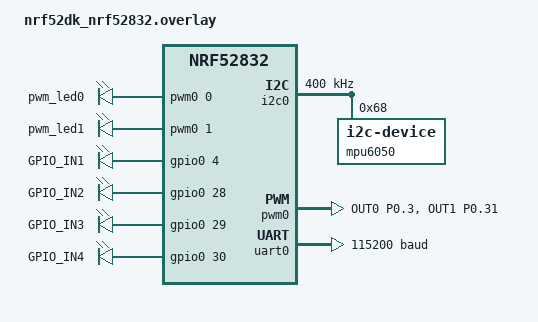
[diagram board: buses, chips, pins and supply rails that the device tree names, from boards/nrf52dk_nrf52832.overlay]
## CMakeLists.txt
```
cmake_minimum_required(VERSION 3.20.0)
find_package(Zephyr REQUIRED HINTS $ENV{ZEPHYR_BASE})

project(sbr-software)

target_sources(app PRIVATE src/main.c)
target_sources(app PRIVATE src/mpu6050.c)
target_sources(app PRIVATE src/motors.c)
target_sources(app PRIVATE src/usb_module.c)
target_sources(app PRIVATE src/buttons.c)
```

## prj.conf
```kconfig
CONFIG_I2C=y

# USB CDC ACM (Communications Device Class - Abstract Control Model)
CONFIG_USB_DEVICE_STACK=y
CONFIG_USB_DEVICE_PRODUCT="SBR with NiceNano v.2"

CONFIG_SERIAL=y
CONFIG_CONSOLE=y
CONFIG_UART_CONSOLE=y
CONFIG_UART_LINE_CTRL=y

CONFIG_CBPRINTF_FP_SUPPORT=y

# GPIO and PWM
CONFIG_GPIO=y
CONFIG_PWM=y
CONFIG_LED=y
# CONFIG_LED_PWM=y

# CONFIG_BT=y
# CONFIG_BT_PERIPHERAL=y
## CONFIG_BT_DEVICE_NAME="SB RB"
# CONFIG_BT_LL_SOFTDEVICE=y

# CONFIG_MAIN_STACK_SIZE=512
# CONFIG_IDLE_STACK_SIZE=128

# CONFIG_BT_L2CAP_TX_BUF_COUNT=2
# CONFIG_BT_BUF_EVT_RX_COUNT=2

# CONFIG_BT_BUF_ACL_RX_SIZE=32
# CONFIG_BT_BUF_ACL_TX_SIZE=32
# CONFIG_BT_BUF_ACL_RX_COUNT=1
#CONFIG_BT_BUF_ACL_TX_COUNT=1
```

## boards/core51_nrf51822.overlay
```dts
// To get started, press Ctrl+Space to bring up the completion menu and view the available nodes.

// You can also use the buttons in the sidebar to perform actions on nodes.
// Actions currently available include:

// * Enabling / disabling the node
// * Adding the bus to a bus
// * Removing the node
// * Connecting ADC channels

// For more help, browse the DeviceTree documentation at https://docs.zephyrproject.org/latest/guides/dts/index.html
// You can also visit the nRF DeviceTree extension documentation at https://docs.nordicsemi.com/bundle/nrf-connect-vscode/page/guides/ncs_configure_app.html#devicetree-support-in-the-extension
/{
    aliases {
        bt1 = &button0;
        bt2 = &button1;
    };

    buttons {
		compatible = "gpio-keys";
		button0: button_0 {
			gpios = <&gpio0 17 (GPIO_PULL_UP | GPIO_ACTIVE_LOW)>;
			label = "Push button switch 0";
			zephyr,code = <INPUT_KEY_0>;
		};
		button1: button_1 {
			gpios = <&gpio0 18 (GPIO_PULL_UP | GPIO_ACTIVE_LOW)>;
			label = "Push button switch 1";
			zephyr,code = <INPUT_KEY_1>;
		};
    };
};
```

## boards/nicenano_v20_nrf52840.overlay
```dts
/{
	chosen {
		zephyr,console = &cdc_acm_uart0;
	};

	leds {
		mpu6500_ad0: mpu6500ad0 {
			label = "MPU6500_ADDRESS";
			gpios = <&gpio0 24 0>;
		};
		driver_s12: drivers12 {
			label = "M_DRIVER_12_SLEEP";
			gpios = <&gpio0 6 0>;
		};
	};

	motors: motors {
        compatible = "pwm-motors";
        pwms = <&pwm0 0 PWM_KHZ(20) PWM_POLARITY_NORMAL>,
			   <&pwm0 1 PWM_KHZ(20) PWM_POLARITY_NORMAL>,
			   <&pwm0 2 PWM_KHZ(20) PWM_POLARITY_NORMAL>,
			   <&pwm0 3 PWM_KHZ(20) PWM_POLARITY_NORMAL>;
    };

	buttons {
		compatible = "gpio-keys";
		button1: button_1 {
			gpios = <&gpio0 31 (GPIO_ACTIVE_LOW | GPIO_PULL_UP)>;
			label = "Push button switch 1";
		};
		};

    aliases {
		mpu6500-address = &mpu6500_ad0;
        drv-slp-12 = &driver_s12;
		bt1 = &button1;
    };
};

&pinctrl {
    i2c0_default: i2c0_default {
		group1 {
			psels = <NRF_PSEL(TWIM_SDA, 1, 0)>, <NRF_PSEL(TWIM_SCL, 0, 11)>;
		};
	};

	i2c0_sleep: i2c0_sleep {
		group1 {
			psels = <NRF_PSEL(TWIM_SDA, 1, 0)>, <NRF_PSEL(TWIM_SCL, 0, 11)>;
			low-power-enable;
		};
	};

	pwm0_default: pwm0_default {
		group1 {
			psels = <NRF_PSEL(PWM_OUT0, 0, 8)>,
					<NRF_PSEL(PWM_OUT1, 0, 17)>,
					<NRF_PSEL(PWM_OUT2, 0, 20)>,
					<NRF_PSEL(PWM_OUT3, 0, 22)>;
		};
	};
};

&pwm0 {
    compatible = "nordic,nrf-pwm";
    status = "okay";
	pinctrl-0 = <&pwm0_default>;
	pinctrl-names = "default";
};

&i2c0 {
    pinctrl-0 = <&i2c0_default>;
	pinctrl-names = "default";
    status = "okay";
	mpu6500: mpu6500@68{
        compatible = "i2c-device";
        reg = < 0x68 >;
        label = "mpu6500";
    };
};

&zephyr_udc0 {
	cdc_acm_uart0: cdc_acm_uart0 {
		compatible = "zephyr,cdc-acm-uart";
	};
};
```

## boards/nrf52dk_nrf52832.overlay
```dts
// To get started, press Ctrl+Space to bring up the completion menu and view the available nodes.

// You can also use the buttons in the sidebar to perform actions on nodes.
// Actions currently available include:

// * Enabling / disabling the node
// * Adding the bus to a bus
// * Removing the node
// * Connecting ADC channels

// For more help, browse the DeviceTree documentation at https://docs.zephyrproject.org/latest/guides/dts/index.html
// You can also visit the nRF DeviceTree extension documentation at https://docs.nordicsemi.com/bundle/nrf-connect-vscode/page/guides/ncs_configure_app.html#devicetree-support-in-the-extension
&i2c0 {  
    mpu6050: mpu6050@68{
        compatible = "i2c-device";
        status = "okay";
        reg = < 0x68 >;
    };

    clock-frequency = <I2C_BITRATE_FAST>;
};

/{
    aliases {
        gpio-in1 = &gpioin1;
        gpio-in2 = &gpioin2;
        gpio-in3 = &gpioin3;
        gpio-in4 = &gpioin4;
        bt1 = &button0;
        bt2 = &button1;
        bt3 = &button2;
        bt4 = &button3;
        pwm-servo0 = &pwm_led0;
        pwm-servo1 = &pwm_led1;
    };
    pwmleds {
        compatible = "pwm-leds";
        pwm_led0: pwm_led_0 {
            pwms = <&pwm0 0 PWM_USEC(25) PWM_POLARITY_NORMAL>;
        };
        pwm_led1: pwm_led_1 {
            pwms = <&pwm0 1 PWM_USEC(25) PWM_POLARITY_NORMAL>;
        };
    };

    leds {
        gpioin1: gpio_in1 {
            gpios = <&gpio0 4 0>;
            label = "GPIO_IN1";
        };

        gpioin2: gpio_in2 {
            gpios = <&gpio0 28 0>;
            label = "GPIO_IN2";
        };

        gpioin3: gpio_in3 {
            gpios = <&gpio0 29 0>;
            label = "GPIO_IN3";
        };

        gpioin4: gpio_in4 {
            gpios = <&gpio0 30 0>;
            label = "GPIO_IN4";
        };
    };
};

&pwm0 {
    status = "okay";
    pinctrl-0 = <&pwm0_custom>;
    pinctrl-1 = <&pwm0_csleep>;
    pinctrl-names = "default", "sleep";
};

&pinctrl {
    pwm0_custom: pwm0_custom {
        group1 {
            psels = <NRF_PSEL(PWM_OUT0, 0, 3)>;
            nordic,invert;
        };

        group2 {
            psels = <NRF_PSEL(PWM_OUT1, 0, 31)>;
        };
    };

    pwm0_csleep: pwm0_csleep {
        group1 {
            psels = <NRF_PSEL(PWM_OUT0, 0, 3)>;
            low-power-enable;
        };
        group2 {
            psels = <NRF_PSEL(PWM_OUT1, 0, 31)>;
            low-power-enable;
        };
    };
};
&uart0 {
    current-speed = <115200>;
};

&spi0 {
    status="disabled";
};
&spi1 {
    status="disabled";
};
&spi2 {
    status="disabled";
};
```

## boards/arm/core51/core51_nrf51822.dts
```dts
/*
 * Copyright (c) 2017 Linaro Limited
 *
 * SPDX-License-Identifier: Apache-2.0
 */

/dts-v1/;
#include <nordic/nrf51822_qfaa.dtsi>
//#include "core51_nrf51822-pinctrl.dtsi"
#include <zephyr/dt-bindings/input/input-event-codes.h>

/ {
	model = "Core 51822";
	compatible = "nordic,nrf51822";

	chosen {
		zephyr,sram = &sram0;
		zephyr,flash = &flash0;
		zephyr,code-partition = &slot0_partition;
		zephyr,console = &uart0;
		zephyr,shell-uart = &uart0;
		zephyr,bt-mon-uart = &uart0;
		zephyr,bt-c2h-uart = &uart0;
	};

	leds {
		compatible = "gpio-leds";
		led0: led_0 {
			label = "LED 1";
			gpios = <&gpio0 21 0>;
		};
	};

	/* These aliases are provided for compatibility with samples */
	aliases {
		led0 = &led0;
	};
};

&gpiote {
	status = "okay";
};

&gpio0 {
	status = "okay";
};

&flash0 {
	partitions {
		compatible = "fixed-partitions";
		#address-cells = <1>;
		#size-cells = <1>;

		boot_partition: partition@0 {
			label = "mcuboot";
			reg = <0x00000000 0x8000>;
		};
		slot0_partition: partition@8000 {
			label = "image-0";
			reg = <0x00008000 0x1a000>;
		};
		slot1_partition: partition@22000 {
			label = "image-1";
			reg = <0x00022000 0x1a000>;
		};
		scratch_partition: partition@3c000 {
			label = "image-scratch";
			reg = <0x0003c000 0x2000>;
		};
		storage_partition: partition@3e000 {
			label = "storage";
			reg = <0x0003e000 0x00002000>;
		};
	};
};
```

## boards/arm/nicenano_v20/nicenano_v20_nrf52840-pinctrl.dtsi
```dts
// Copyright (c) 2025 MLesniak https://github.com/LesniakM

&pinctrl {
	uart0_default: uart0_default {
		group1 {
			psels = <NRF_PSEL(UART_TX, 0, 9)>,
				<NRF_PSEL(UART_RX, 0, 11)>,
				<NRF_PSEL(UART_RTS, 0, 8)>,
				<NRF_PSEL(UART_CTS, 0, 10)>;
		};
	};

	uart0_sleep: uart0_sleep {
		group1 {
			psels = <NRF_PSEL(UART_TX, 0, 9)>,
				<NRF_PSEL(UART_RX, 0, 11)>,
				<NRF_PSEL(UART_RTS, 0, 8)>,
				<NRF_PSEL(UART_CTS, 0, 10)>;
			low-power-enable;
		};
	};

	i2c0_default: i2c0_default {
		group1 {
			psels = <NRF_PSEL(TWIM_SDA, 0, 30)>,
				<NRF_PSEL(TWIM_SCL, 0, 7)>;
		};
	};

	i2c0_sleep: i2c0_sleep {
		group1 {
			psels = <NRF_PSEL(TWIM_SDA, 0, 30)>,
				<NRF_PSEL(TWIM_SCL, 0, 7)>;
			low-power-enable;
		};
	};

	i2c1_default: i2c1_default {
		group1 {
			psels = <NRF_PSEL(TWIM_SDA, 0, 5)>,
				<NRF_PSEL(TWIM_SCL, 0, 6)>;
		};
	};

	i2c1_sleep: i2c1_sleep {
		group1 {
			psels = <NRF_PSEL(TWIM_SDA, 0, 5)>,
				<NRF_PSEL(TWIM_SCL, 0, 6)>;
			low-power-enable;
		};
	};

	spi0_default: spi0_default {
		group1 {
			psels = <NRF_PSEL(SPIM_SCK, 0, 7)>,
				<NRF_PSEL(SPIM_MOSI, 0, 29)>,
				<NRF_PSEL(SPIM_MISO, 0, 30)>;
		};
	};

	spi0_sleep: spi0_sleep {
		group1 {
			psels = <NRF_PSEL(SPIM_SCK, 0, 7)>,
				<NRF_PSEL(SPIM_MOSI, 0, 29)>,
				<NRF_PSEL(SPIM_MISO, 0, 30)>;
			low-power-enable;
		};
	};

	spi1_default: spi1_default {
		group1 {
			psels = <NRF_PSEL(SPIM_SCK, 0, 6)>,
				<NRF_PSEL(SPIM_MOSI, 0, 5)>,
				<NRF_PSEL(SPIM_MISO, 0, 4)>;
		};
	};

	spi1_sleep: spi1_sleep {
		group1 {
			psels = <NRF_PSEL(SPIM_SCK, 0, 6)>,
				<NRF_PSEL(SPIM_MOSI, 0, 5)>,
				<NRF_PSEL(SPIM_MISO, 0, 4)>;
			low-power-enable;
		};
	};

};
```

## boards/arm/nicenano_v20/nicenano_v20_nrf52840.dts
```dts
// Copyright (c) 2025 MLesniak https://github.com/LesniakM

/dts-v1/;
#include <nordic/nrf52840_qiaa.dtsi>
#include "nicenano_v20_nrf52840-pinctrl.dtsi"
#include <zephyr/dt-bindings/input/input-event-codes.h>

/ {
	model = "NiceNano V2.0 nRF52840";
	compatible = "nordic,nicenano-v20-nrf52840";

	chosen {
		zephyr,sram = &sram0;
		zephyr,flash = &flash0;
	};

	leds {
		compatible = "gpio-leds";
		led0: led_0 {
			label = "LED 0";
			gpios = <&gpio0 15 0>;
		};
	};

	/* These aliases are provided for compatibility with samples */
	aliases {
		led0 = &led0;
	};
};

&gpiote {
	status = "okay";
};

&gpio0 {
	status = "okay";
};

&gpio1 {
	status = "okay";
};

zephyr_udc0: &usbd {
	compatible = "nordic,nrf-usbd";
	status = "okay";
};
```

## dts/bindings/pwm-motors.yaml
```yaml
description: PWM bindings for H-bridge drivers.

compatible: "pwm-motors"

include: base.yaml

properties:
  pwms:
    required: true
    type: phandle-array
    description: PWM specifier driving the servo motor.
```

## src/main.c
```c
#include <zephyr/kernel.h>
#include <zephyr/device.h>

#include <zephyr/drivers/gpio.h>
#include <zephyr/drivers/i2c.h>
#include <zephyr/drivers/pwm.h>

#include "motors.h"
#include "mpu6050.h"
#include "buttons.h"

// USB
#include "usb_module.h"

// #include "ble_comm.h"
// #include <zephyr/sys/printk.h>

#define LED0_NODE DT_ALIAS(led0) // LED0_NODE = led0 defined in the .dts file
const struct gpio_dt_spec led = GPIO_DT_SPEC_GET(LED0_NODE, gpios);

#define MPU6500_ADDRESS_NODE DT_ALIAS(mpu6500_address)
const struct gpio_dt_spec mpu6500_address_pin = GPIO_DT_SPEC_GET(MPU6500_ADDRESS_NODE, gpios);

int time = 0;

bool drive = false;

#define I2C0_MPU_NODE DT_NODELABEL(mpu6500)
static const struct i2c_dt_spec dev_i2c = I2C_DT_SPEC_GET(I2C0_MPU_NODE);
uint8_t readbuffer[12] = {};
int16_t correction_values[6] = {0, 0, 0, 0, 0, 0};
int16_t raw_values[6] = {0, 0, 0, 0, 0, 0};
int64_t cumulated_values[6] = {0, 0, 0, 0, 0, 0};
float imu_values[5] = {0, 0, 0, 0, 0};
float a_angle = 0;
float g_angle = 0;

float balance_value = 0;
float balance_value_P = 0;
float balance_value_D = 0;

float kP = 6.001;
float kI = 0.0;
float kD = 2.205;
float kD_dumping = 0.85F;
float gyro_favor_factor = 0.98F;

float complementary_angle = 0;

uint8_t loop_time = 2;

int main(void)
{
    k_msleep(100);
    // init_ble_c();
    gpio_pin_configure_dt(&led, GPIO_OUTPUT_ACTIVE);
    gpio_pin_configure_dt(&mpu6500_address_pin, GPIO_OUTPUT_INACTIVE);
    gpio_pin_configure_dt(&m_driver_12_sleep, GPIO_OUTPUT_ACTIVE);

    config_buttons_callbacks();

    mpu6050_init(&dev_i2c);

    k_msleep(500);

    if (usb_enable(usb_status_cb))
    {
        return 0;
    }

    // Poll if the DTR flag was set
    const struct device *const dev = DEVICE_DT_GET(DT_CHOSEN(zephyr_console));
    uint32_t dtr = 1; // 0;
    while (!dtr)
    {
        uart_line_ctrl_get(dev, UART_LINE_CTRL_DTR, &dtr);
        // Give CPU resources to low priority threads.
        k_msleep(100);
    }

    printk("Acquring correction values...\n");
    for (int n = 0; n < 250; n++)
    {
        mpu6050_get_readings(&dev_i2c, readbuffer);
        k_msleep(3);
        for (int i = 0; i < 6; i++)
        {
            raw_values[i] = (int16_t)readbuffer[i * 2] * 256 + (int16_t)readbuffer[i * 2 + 1];
            cumulated_values[i] += raw_values[i];
        }
    }
    correction_values[4] = cumulated_values[4] / 250;
    correction_values[5] = cumulated_values[5] / 250;
    printk("Correction values: GX: %d, GY: %d\n", correction_values[4], correction_values[5]);
    gpio_pin_toggle_dt(&led);

    gpio_pin_set_dt(&m_driver_12_sleep, 1);

    gpio_pin_toggle_dt(&led);
    k_msleep(200);
    gpio_pin_toggle_dt(&led);
    k_msleep(200);
    gpio_pin_toggle_dt(&led);
    k_msleep(200);

    mpu6050_get_readings(&dev_i2c, readbuffer);
    for (int i = 0; i < 6; i++)
    {
        raw_values[i] = (int16_t)readbuffer[i * 2] * 256 + (int16_t)readbuffer[i * 2 + 1] - correction_values[i];
    }
    imu_values[0] = convert_accel(raw_values[0]);
    imu_values[1] = convert_accel(raw_values[1]);
    imu_values[2] = convert_accel(raw_values[2]);
    imu_values[3] = convert_gyro(raw_values[4]);
    imu_values[4] = convert_gyro(raw_values[5]);
    gpio_pin_toggle_dt(&led);
    printk("Hello. AX %d, AY %d, AZ %d, T%d, GX%d, GY%d\n", raw_values[0], raw_values[1], raw_values[2], raw_values[3], raw_values[4], raw_values[5]);
    printk("F: AX:%f, AY:%f, AZ:%f, GX:%f, GY:%f\n", (double)imu_values[0], (double)imu_values[1], (double)imu_values[2], (double)imu_values[3], (double)imu_values[4]);

    while (1)
    {
        mpu6050_get_readings(&dev_i2c, readbuffer);
        for (int i = 0; i < 6; i++)
        {
            raw_values[i] = (int16_t)readbuffer[i * 2] * 256 + (int16_t)readbuffer[i * 2 + 1] - correction_values[i];
        }
        imu_values[0] = convert_accel(raw_values[0]);
        imu_values[1] = convert_accel(raw_values[1]);
        imu_values[2] = convert_accel(raw_values[2]);
        imu_values[3] = convert_gyro(raw_values[4]);
        imu_values[4] = convert_gyro(raw_values[5]);

        a_angle = accel_angle(imu_values[2], imu_values[0]);
        g_angle = gyro_angle(imu_values[4], loop_time);

        complementary_angle = gyro_favor_factor * (complementary_angle + (g_angle * (1.00F / 100.0F))) + (1.00F - gyro_favor_factor) * a_angle;

        balance_value_P = complementary_angle;
        balance_value_D = (balance_value_D + complementary_angle) * kD_dumping;

        balance_value = balance_value_P * kP + balance_value_D * kD;

        if (balance_value > 100)
        {
            balance_value = 100;
        }
        if (balance_value < -100)
        {
            balance_value = -100;
        }

        printk("%f %f\n", a_angle, g_angle);

        if (balance_value >= 0.15F && drive)
        {
            if (complementary_angle < 0.0F)
            {
                balance_value_D = balance_value_D / 4;
                balance_value = balance_value / 2;
            }
            set_l_motor_speed((uint8_t)balance_value, true);
            set_r_motor_speed((uint8_t)balance_value, true);
        }
        else if (balance_value <= -0.15F && drive)
        {
            if (complementary_angle > 0.0F)
            {
                balance_value_D = balance_value_D / 4;
                balance_value = balance_value / 2;
            }
            set_l_motor_speed((uint8_t)-balance_value, false);
            set_r_motor_speed((uint8_t)-balance_value, false);
        }
        else
        {
            stop_motors();
        }

        k_msleep(loop_time);
        // printk("Angle: %f   %f   %f\n", a_angle, g_angle, balance_value);
    }
}
```

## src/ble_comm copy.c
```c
#include "ble_comm.h"

extern float kD;
extern float kP;
extern float kI;
extern bool drive;
extern float complementary_angle;

static bool notify_enabled;

// #define DEVICE_NAME CONFIG_BT_DEVICE_NAME
// #define DEVICE_NAME_LEN (sizeof(DEVICE_NAME) - 1)

// UUIDs for the custom service and characteristics
static struct bt_uuid_128 custom_service_uuid = BT_UUID_INIT_128(0x00000000, 0x0000, 0x0000, 0x0000, 0x000000000001);
static struct bt_uuid_128 kD_uuid = BT_UUID_INIT_128(0x00000000, 0x0000, 0x0000, 0x0000, 0x000000000002);
static struct bt_uuid_128 kP_uuid = BT_UUID_INIT_128(0x00000000, 0x0000, 0x0000, 0x0000, 0x000000000003);
static struct bt_uuid_128 kI_uuid = BT_UUID_INIT_128(0x00000000, 0x0000, 0x0000, 0x0000, 0x000000000004);
static struct bt_uuid_128 drive_uuid = BT_UUID_INIT_128(0x00000000, 0x0000, 0x0000, 0x0000, 0x000000000005);
static struct bt_uuid_128 ca_uuid = BT_UUID_INIT_128(0x00000000, 0x0000, 0x0000, 0x0000, 0x000000000006);

static ssize_t read_k_param(struct bt_conn *conn, const struct bt_gatt_attr *attr, void *buf, uint16_t len, uint16_t offset)
{
    float *value = (float *)attr->user_data;
    return bt_gatt_attr_read(conn, attr, buf, len, offset, value, sizeof(float));
}

static ssize_t read_b_param(struct bt_conn *conn, const struct bt_gatt_attr *attr, void *buf, uint16_t len, uint16_t offset)
{
    bool *value = attr->user_data;
    return bt_gatt_attr_read(conn, attr, buf, len, offset, value, 1);
}

static ssize_t write_k_param(struct bt_conn *conn, const struct bt_gatt_attr *attr, const void *buf, uint16_t len, uint16_t offset, uint8_t flags)
{
    float *value = (float *)attr->user_data;
    const int8_t *byte_buf = (const int8_t *)buf;
    if (len != 2)
    {
        return BT_GATT_ERR(BT_ATT_ERR_INVALID_ATTRIBUTE_LEN);
    }
    int32_t int_val = (uint8_t)byte_buf[0] + byte_buf[1] * 256;
    *value = ((float)int_val) / 1000.F;
    // memcpy(value, buf, sizeof(float));
    // printk("Updated. D: %d, B: %d, %d, F: %f\n", int_val, byte_buf[0], byte_buf[1], (double)*value);

    return len;
}

static ssize_t write_b_param(struct bt_conn *conn, const struct bt_gatt_attr *attr, const void *buf, uint16_t len, uint16_t offset, uint8_t flags)
{
    bool *value = attr->user_data;
    if (len != 1)
    {
        return BT_GATT_ERR(BT_ATT_ERR_INVALID_ATTRIBUTE_LEN);
    }
    memcpy(value, buf, 1);
    // printk("Updated parameter to %d\n", (bool)*value);
    return 1;
}

static void ccc_angle_cfg_changed(const struct bt_gatt_attr *attr, uint16_t value)
{
    notify_enabled = (value == BT_GATT_CCC_NOTIFY);
    // printk("UUID: %d\n", attr->uuid);
}

BT_GATT_SERVICE_DEFINE(custom_svc,
                       BT_GATT_PRIMARY_SERVICE(&custom_service_uuid),

                       // kD Characteristic
                       BT_GATT_CHARACTERISTIC(&kD_uuid.uuid, BT_GATT_CHRC_READ | BT_GATT_CHRC_WRITE,
                                              BT_GATT_PERM_READ | BT_GATT_PERM_WRITE,
                                              read_k_param, write_k_param, &kD),

                       // kP Characteristic
                       BT_GATT_CHARACTERISTIC(&kP_uuid.uuid, BT_GATT_CHRC_READ | BT_GATT_CHRC_WRITE,
                                              BT_GATT_PERM_READ | BT_GATT_PERM_WRITE,
                                              read_k_param, write_k_param, &kP),

                       // kI Characteristic
                       BT_GATT_CHARACTERISTIC(&kI_uuid.uuid, BT_GATT_CHRC_READ | BT_GATT_CHRC_WRITE,
                                              BT_GATT_PERM_READ | BT_GATT_PERM_WRITE,
                                              read_k_param, write_k_param, &kI),

                       // drive Characteristic
                       BT_GATT_CHARACTERISTIC(&drive_uuid.uuid, BT_GATT_CHRC_READ | BT_GATT_CHRC_WRITE,
                                              BT_GATT_PERM_READ | BT_GATT_PERM_WRITE,
                                              read_b_param, write_b_param, &drive),

                       // kD Characteristic
                       BT_GATT_CHARACTERISTIC(&ca_uuid.uuid, BT_GATT_CHRC_NOTIFY,
                                              BT_GATT_PERM_NONE, NULL, NULL,
                                              NULL),

                       BT_GATT_CCC(ccc_angle_cfg_changed, BT_GATT_PERM_READ | BT_GATT_PERM_WRITE), );

static const struct bt_data ad[] = {
    BT_DATA_BYTES(BT_DATA_FLAGS, (BT_LE_AD_GENERAL | BT_LE_AD_NO_BREDR)),
    // BT_DATA(BT_DATA_NAME_COMPLETE, DEVICE_NAME, DEVICE_NAME_LEN),
};

// static const struct bt_data sd[] = {
//	BT_DATA_BYTES(BT_DATA_UUID128_ALL, &drive_uuid.uuid),
// };

void init_ble_c()
{
    int err = bt_enable(NULL);
    if (err)
    {
        // printk("Bluetooth init failed (err %d)\n", err);
        return;
    }
    // printk("Bluetooth initialized\n");

    // Start advertising
    err = bt_le_adv_start(BT_LE_ADV_CONN, ad, ARRAY_SIZE(ad), NULL, 0);
    if (err)
    {
        // printk("Advertising failed to start (err %d)\n", err);
        return;
    }
    // printk("Advertising started\n");
}

int send_angle_notify(uint32_t sensor_value)
{
    if (!notify_enabled)
    {
        return -EACCES;
    }
    int err = 0;
    err = bt_gatt_notify(NULL, &custom_svc.attrs[10], &sensor_value, sizeof(sensor_value));

    return err;
}
```

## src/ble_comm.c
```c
#include "ble_comm.h"

extern float kD;
extern float complementary_angle;

// #define DEVICE_NAME CONFIG_BT_DEVICE_NAME
// #define DEVICE_NAME_LEN (sizeof(DEVICE_NAME) - 1)

// UUIDs for the custom service and characteristics
static struct bt_uuid_128 custom_service_uuid = BT_UUID_INIT_128(0x00000000, 0x0000, 0x0000, 0x0000, 0x000000000001);
static struct bt_uuid_128 kD_uuid = BT_UUID_INIT_128(0x00000000, 0x0000, 0x0000, 0x0000, 0x000000000002);

static ssize_t read_k_param(struct bt_conn *conn, const struct bt_gatt_attr *attr, void *buf, uint16_t len, uint16_t offset)
{
    float *value = (float *)attr->user_data;
    return bt_gatt_attr_read(conn, attr, buf, len, offset, value, sizeof(float));
}

static ssize_t write_k_param(struct bt_conn *conn, const struct bt_gatt_attr *attr, const void *buf, uint16_t len, uint16_t offset, uint8_t flags)
{
    float *value = (float *)attr->user_data;
    const int8_t *byte_buf = (const int8_t *)buf;
    if (len != 2)
    {
        return BT_GATT_ERR(BT_ATT_ERR_INVALID_ATTRIBUTE_LEN);
    }
    int32_t int_val = (uint8_t)byte_buf[0] + byte_buf[1] * 256;
    *value = ((float)int_val) / 1000.F;
    // memcpy(value, buf, sizeof(float));
    // printk("Updated. D: %d, B: %d, %d, F: %f\n", int_val, byte_buf[0], byte_buf[1], (double)*value);

    return len;
}

BT_GATT_SERVICE_DEFINE(custom_svc,
                       BT_GATT_PRIMARY_SERVICE(&custom_service_uuid),

                       // kD Characteristic
                       BT_GATT_CHARACTERISTIC(&kD_uuid.uuid, BT_GATT_CHRC_READ | BT_GATT_CHRC_WRITE,
                                              BT_GATT_PERM_READ | BT_GATT_PERM_WRITE,
                                              read_k_param, write_k_param, &kD), );

static const struct bt_data ad[] = {
    BT_DATA_BYTES(BT_DATA_FLAGS, (BT_LE_AD_GENERAL | BT_LE_AD_NO_BREDR)),
    // BT_DATA(BT_DATA_NAME_COMPLETE, DEVICE_NAME, DEVICE_NAME_LEN),
};

// static const struct bt_data sd[] = {
//	BT_DATA_BYTES(BT_DATA_UUID128_ALL, &drive_uuid.uuid),
// };

void init_ble_c()
{
    int err = bt_enable(NULL);
    if (err)
    {
        // printk("Bluetooth init failed (err %d)\n", err);
        return;
    }
    // printk("Bluetooth initialized\n");

    // Start advertising
    err = bt_le_adv_start(BT_LE_ADV_CONN, ad, ARRAY_SIZE(ad), NULL, 0);
    if (err)
    {
        // printk("Advertising failed to start (err %d)\n", err);
        return;
    }
    // printk("Advertising started\n");
}
```

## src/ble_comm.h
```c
#ifndef BLE_COMM
#define BLE_COMM

#include <zephyr/bluetooth/bluetooth.h>
#include <zephyr/bluetooth/hci.h>
#include <zephyr/bluetooth/gatt.h>
// #include <zephyr/sys/printk.h>

void init_ble_c();

#endif
```

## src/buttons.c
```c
#include "buttons.h"

#define SW1_NODE DT_ALIAS(bt1)
static const struct gpio_dt_spec button1 = GPIO_DT_SPEC_GET(SW1_NODE, gpios);
// #define SW1_NODE DT_ALIAS(bt2)
// static const struct gpio_dt_spec button2 = GPIO_DT_SPEC_GET(SW1_NODE, gpios);

static struct gpio_callback button1_cb_data;
// static struct gpio_callback button2_cb_data;

void button1_cb(const struct device *dev, struct gpio_callback *cb, uint32_t pins)
{
    if (gpio_pin_get_dt(&button1))
    {
        button1_pressed();
    }
    else
    {
        button1_released();
    }
}

void button1_pressed()
{
    printk("btn down cb\n");
    // drive = true;
}

void button1_released()
{
    printk("btn up cb\n");
    // drive = true;
}

/*
void button2_pressed_cb(const struct device *dev, struct gpio_callback *cb, uint32_t pins)
{
    gpio_pin_set_dt(&led, 0);
    drive = false;
}
*/

void config_buttons_callbacks()
{
    gpio_pin_configure_dt(&button1, GPIO_INPUT);
    // gpio_pin_configure_dt(&button2, GPIO_INPUT);

    // Setup interrupts for pins:
    gpio_pin_interrupt_configure_dt(&button1, GPIO_INT_EDGE_BOTH);
    // gpio_pin_interrupt_configure_dt(&button2, GPIO_INT_EDGE_TO_ACTIVE);

    // Initialize the static struct gpio_callback variable
    gpio_init_callback(&button1_cb_data, button1_cb, BIT(button1.pin));
    // gpio_init_callback(&button2_cb_data, button2_pressed_cb, BIT(button2.pin));

    // Add the callback function by calling gpio_add_callback()
    gpio_add_callback(button1.port, &button1_cb_data);
    // gpio_add_callback(button2.port, &button2_cb_data);
}
```

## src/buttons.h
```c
#ifndef BUTTONS_H
#define BUTTONS_H

#include <zephyr/kernel.h>
#include <zephyr/device.h>
#include <zephyr/devicetree.h>
#include <zephyr/drivers/gpio.h>

#include <zephyr/sys/printk.h>

extern bool drive;

void button1_pressed_cb(const struct device *dev, struct gpio_callback *cb, uint32_t pins);

// void button2_pressed_cb(const struct device *dev, struct gpio_callback *cb, uint32_t pins);

void config_buttons_callbacks();

#endif // BUTTONS_H
```

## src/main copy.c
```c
#include <zephyr/kernel.h>
#include <zephyr/device.h>
#include <zephyr/drivers/gpio.h>
#include <zephyr/drivers/i2c.h>
#include <zephyr/drivers/pwm.h>

#include "motors.h"
#include "mpu6050.h"
#include "buttons.h"
// #include "ble_comm.h"

// #include <zephyr/sys/printk.h>

#define I2C0_NODE DT_NODELABEL(mpu6050)

extern const struct gpio_dt_spec led;

int8_t mpu_readings[8] = {0};

int16_t acc_y_val = 0;
int16_t acc_z_val = 0;
int16_t gyr_x_val = 0;

int16_t corr_acc_y = 500;
int16_t corr_acc_z = 1000;
int16_t corr_gyr_x = 590;

float balance_value = 0;
float balance_value_P = 0;
float balance_value_D = 0;

float kP = 6.001;
float kI = 0.0;
float kD = 8.205;
float kD_dumping = 0.85F;
float gyro_favor_factor = 0.98F;

float acc_angle = 0;
float gyr_angle = 0;
float complementary_angle = 0;

bool drive = false;

int main(void)
{
        static const struct i2c_dt_spec dev_i2c = I2C_DT_SPEC_GET(I2C0_NODE);
        if (!device_is_ready(dev_i2c.bus))
        {
                // printk("I2C bus %s is not ready!\n\r", dev_i2c.bus->name);
                return -1;
        }

        if (!pwm_is_ready_dt(&pwm_low_speed_0))
        {
                // printk("Error: PWM device %s is not ready\n", pwm_low_speed_0.dev->name);
                return 0;
        }
        if (!pwm_is_ready_dt(&pwm_low_speed_1))
        {
                // printk("Error: PWM device %s is not ready\n", pwm_low_speed_0.dev->name);
                return 0;
        }

        config_buttons_callbacks();

        gpio_pin_toggle_dt(&led);
        k_msleep(200);
        gpio_pin_toggle_dt(&led);
        k_msleep(200);
        gpio_pin_toggle_dt(&led);
        k_msleep(200);

        mpu6050_init(&dev_i2c);

        // init_ble_c();

        k_msleep(1000);
        while (1)
        {
                // gpio_pin_set_dt(&led, drive);
                gpio_pin_toggle_dt(&led);
                k_msleep(200);
                /*
                100k, 1    sample,  2  bytes: <1  ms
                100k, 1    sample,  6  bytes: 1   ms
                100k, 1    sample,  10 bytes: 1-2 ms
                100k, 1    sample, 2x2 bytes: 1-2 ms
                100k, 100 samples,  10 bytes: 133 ms
                100k, 100 samples, 2x2 bytes: 122 ms
                100k, 100 samples,  8  bytes: 115 ms

                400k, 100 samples,  8  bytes: 42 ms

                100k, 50   samples, 6 bytes: 19  ms
                100k, 1000 samples, 6 bytes: 383 ms
                100k, 1000 samples, 6 bytes: 383 ms
                */

                mpu6050_get_readings(&dev_i2c, mpu_readings);
                acc_y_val = mpu_readings[0] * 256 + mpu_readings[1] + corr_acc_y;
                acc_z_val = mpu_readings[2] * 256 + mpu_readings[3] + corr_acc_z;
                gyr_x_val = mpu_readings[6] * 256 + mpu_readings[7] + corr_gyr_x;

                gyr_angle = gyro_angle(gyr_x_val, 10);
                acc_angle = accel_angle(acc_y_val, acc_z_val);

                complementary_angle = gyro_favor_factor * (complementary_angle + (gyr_angle * (1.00F / 100.0F))) + (1.00F - gyro_favor_factor) * acc_angle;

                k_msleep(9);

                balance_value_P = complementary_angle;
                balance_value_D = (balance_value_D + complementary_angle) * kD_dumping;

                balance_value = balance_value_P * kP + balance_value_D * kD;

                if (balance_value > 100)
                {
                        balance_value = 100;
                }
                if (balance_value < -100)
                {
                        balance_value = -100;
                }

                if (balance_value >= 0.15F)
                {
                        if (complementary_angle < 0.0F && drive)
                        {
                                balance_value_D = balance_value_D / 4;
                                balance_value = balance_value / 2;
                        }
                        set_l_motor_speed(balance_value, true);
                        set_r_motor_speed(balance_value, true);
                }
                else if (balance_value <= -0.15F && drive)
                {
                        if (complementary_angle > 0.0F)
                        {
                                balance_value_D = balance_value_D / 4;
                                balance_value = balance_value / 2;
                        }
                        set_l_motor_speed(-balance_value, false);
                        set_r_motor_speed(-balance_value, false);
                }
                else
                {
                        motors_stop();
                }

                // printk("Notify return: %d. Value: %f, %d\n", send_angle_notify((int32_t)complementary_angle), complementary_angle, (int32_t)complementary_angle);

                // printk("%f, %f, %f, %f\n", complementary_angle, balance_value, gyr_angle, acc_angle);

                // gpio_pin_set_dt(&led, acc_y_val > 50);

                // printk("A: %d   Y: %d.%d m/s^2 (%d)   Z: %d.%d m/s^2 (%d)      \r", angle(acc_y_val) / 10, acc_y_val / 10, (acc_y_val)-acc_y_val / 10 * 10, acc_y_val, acc_z_val / 10, (acc_z_val)-acc_z_val / 10 * 10, acc_z_val);
        }
}
```

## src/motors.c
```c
#include "motors.h"
#include <assert.h>

#define MOTOR_PWM_NODE DT_NODELABEL(motors) // Reference the motors node
#define MOTOR_PWM_CTLR(idx) DT_PWMS_CTLR_BY_IDX(MOTOR_PWM_NODE, idx)
#define MOTOR_PWM_CHANNEL(idx) DT_PWMS_CHANNEL_BY_IDX(MOTOR_PWM_NODE, idx)
#define MOTOR_PWM_FLAGS(idx) DT_PWMS_FLAGS_BY_IDX(MOTOR_PWM_NODE, idx)

#define MOTOR_START_DC 50

const struct pwm_dt_spec pwm_channels[4] = {
    {.dev = DEVICE_DT_GET(MOTOR_PWM_CTLR(0)),
     .channel = MOTOR_PWM_CHANNEL(0),
     .period = PWM_KHZ(20),
     .flags = MOTOR_PWM_FLAGS(0)},
    {.dev = DEVICE_DT_GET(MOTOR_PWM_CTLR(1)),
     .channel = MOTOR_PWM_CHANNEL(1),
     .period = PWM_KHZ(20),
     .flags = MOTOR_PWM_FLAGS(1)},
    {.dev = DEVICE_DT_GET(MOTOR_PWM_CTLR(2)),
     .channel = MOTOR_PWM_CHANNEL(2),
     .period = PWM_KHZ(20),
     .flags = MOTOR_PWM_FLAGS(2)},
    {.dev = DEVICE_DT_GET(MOTOR_PWM_CTLR(3)),
     .channel = MOTOR_PWM_CHANNEL(3),
     .period = PWM_KHZ(20),
     .flags = MOTOR_PWM_FLAGS(3)}};

void set_pwm_channel(uint8_t channel, uint8_t dutycycle)
{
    assert(channel <= 3);
    if (dutycycle > 100)
    {
        dutycycle = 100;
    }
    pwm_set_dt(&pwm_channels[channel], PWM_KHZ(20), PWM_NSEC(500 * dutycycle));
}

void set_l_motor_speed(uint8_t speed, bool forward)
{
    if (speed > 100)
    {
        speed = 100;
    }
    if (forward)
    {
        set_pwm_channel(0, 0);
        set_pwm_channel(1, MOTOR_START_DC + speed / 2);
    }
    else
    {
        set_pwm_channel(1, 0);
        set_pwm_channel(0, MOTOR_START_DC + speed / 2);
    }
}

void set_r_motor_speed(uint8_t speed, bool forward)
{
    if (speed > 100)
    {
        speed = 100;
    }
    if (forward)
    {
        set_pwm_channel(3, 0);
        set_pwm_channel(2, MOTOR_START_DC + speed / 2);
    }
    else
    {
        set_pwm_channel(2, 0);
        set_pwm_channel(3, MOTOR_START_DC + speed / 2);
    }
}

void stop_motors()
{
    set_pwm_channel(0, 0);
    set_pwm_channel(1, 0);
    set_pwm_channel(2, 0);
    set_pwm_channel(3, 0);
}
```

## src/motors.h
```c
#ifndef MOTORS_H
#define MOTORS_H

#include <stdint.h>
#include <stdbool.h>
#include <zephyr/drivers/pwm.h>
#include <zephyr/drivers/gpio.h>

#define M_DRIVER_12_SLEEP_NODE DT_ALIAS(drv_slp_12)
static const struct gpio_dt_spec m_driver_12_sleep = GPIO_DT_SPEC_GET(M_DRIVER_12_SLEEP_NODE, gpios);

#define MAX_PULSE_NS 25000
#define MAX_ALLOWED_PULSE_NS_L 20000
#define MIN_WORKING_PULSE_NS_L 14000
#define MAX_ALLOWED_PULSE_NS_R 20000
#define MIN_WORKING_PULSE_NS_R 14000

/**
 * @brief Sets the PWM duty cycle for a specified channel.
 *
 * This function configures the PWM duty cycle for the given channel.
 * The duty cycle is clamped between 0 and 100%. The function asserts
 * that the channel index is within the valid range (0 to 3).
 *
 * @param channel   The PWM channel to configure (valid range: 0-3).
 * @param dutycycle The desired duty cycle percentage (0-100%).
 *
 * @note If the duty cycle exceeds 100%, it will be capped at 100%.
 * @note The function assumes that `pwm_channels` is properly initialized.
 */
void set_pwm_channel(uint8_t channel, uint8_t dutycycle);

/**
 * @brief Sets the speed and direction of the left motor.
 *
 * @param speed   The speed of the motor (0-100% duty cycle).
 * @param forward If true, the motor moves forward; otherwise, it moves in reverse.
 *
 * @note If the speed exceeds 100%, it will be capped at 100%.
 */
void set_l_motor_speed(uint8_t speed, bool forward);

/**
 * @brief Sets the speed and direction of the right motor.
 *
 * @param speed   The speed of the motor (0-100% duty cycle).
 * @param forward If true, the motor moves forward; otherwise, it moves in reverse.
 *
 * @note If the speed exceeds 100%, it will be capped at 100%.
 */
void set_r_motor_speed(uint8_t speed, bool forward);

/**
 * @brief Stops all motors by setting their PWM duty cycles to 0%.
 *
 * This function disables all motor movement by setting the duty cycle of
 * all PWM channels to 0, effectively stopping the motors.
 *
 *
 */
void stop_motors();

#endif // MOTORS_H
```

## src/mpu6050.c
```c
#include "mpu6050.h"
#include <math.h>

void mpu6050_init(const struct i2c_dt_spec *dev_i2c)
{

    i2c_reg_write_byte_dt(dev_i2c, MPU6050_REG_PWR_MGMT_1, 0);
    k_msleep(2);
    i2c_reg_write_byte_dt(dev_i2c, MPU6050_REG_ACCEL_CONFIG, 0x0);
    k_msleep(2);
    i2c_reg_write_byte_dt(dev_i2c, MPU6050_REG_GYRO_CONFIG, 0x0);
    k_msleep(2);
    i2c_reg_write_byte_dt(dev_i2c, MPU6050_REG_CONFIG, BW_42HZ);
    k_msleep(2);
    // printk("MPU6050 init end.\n");
}

/*
From MPU6050 datasheet:
AFS_SEL Full Scale Range LSB Sensitivity
0	±2g 	16384 	LSB/g
1	±4g		8192 	LSB/g
2	±8g 	4096 	LSB/g
3	±16g 	2048 	LSB/g
Returns in m/ss
*/
float convert_accel(int16_t raw_val)
{
    return (float)raw_val / 16384.F * G_CONSTANT;
}

float accel_angle(float x_acc, float z_acc)
{
    return atan2f(x_acc, -z_acc) * (180.0F / M_PI);
}

float gyro_angle(float angle_speed, float time_ms)
{
    return -angle_speed * time_ms / 1000.F;
}

/*
From MPU6050 datasheet:
 * FS_SEL Full Scale Range LSB Sensitivity
 * 0 ± 250 °/s 131 LSB/°/s     131072  (2^17)
 * 1 ± 500 °/s 65.5 LSB/°/s    65 536  (2^16)
 * 2 ± 1000 °/s 32.8 LSB/°/s   32 768  (2^15)
 * 3 ± 2000 °/s 16.4 LSB/°/s   16 384  (2^14)
 * Return result in degree/s
*/
float convert_gyro(int16_t raw_val)
{
    return (float)raw_val / 131.072F;
}

void mpu6050_get_readings(const struct i2c_dt_spec *dev_i2c, uint8_t *buffer)
{
    i2c_burst_read_dt(dev_i2c, (uint8_t)MPU6050_REG_ACCEL_XOUT_H, buffer, 12);
}
```

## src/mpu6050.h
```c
#ifndef MPU6050_H
#define MPU6050_H

#include <stdint.h>
#include <zephyr/drivers/i2c.h>

#define MPU6050_REG_ACCEL_XOUT_H 0x3B
#define MPU6050_REG_ACCEL_XOUT_L 0x3C
#define MPU6050_REG_ACCEL_YOUT_H 0x3D
#define MPU6050_REG_ACCEL_YOUT_L 0x3E
#define MPU6050_REG_ACCEL_ZOUT_H 0x3F
#define MPU6050_REG_ACCEL_ZOUT_L 0x40
#define MPU6050_REG_TEMP_OUT_H 0x41
#define MPU6050_REG_TEMP_OUT_L 0x42
#define MPU6050_REG_GYRO_XOUT_H 0x43
#define MPU6050_REG_GYRO_XOUT_L 0x44
#define MPU6050_REG_GYRO_YOUT_H 0x45
#define MPU6050_REG_GYRO_YOUT_L 0x46
#define MPU6050_REG_GYRO_ZOUT_H 0x47
#define MPU6050_REG_GYRO_ZOUT_L 0x48

#define MPU6050_REG_CONFIG 0x1A
#define MPU6050_REG_GYRO_CONFIG 0x1B
#define MPU6050_REG_ACCEL_CONFIG 0x1C

#define MPU6050_REG_PWR_MGMT_1 0x6B
#define MPU6050_REG_PWR_MGMT_2 0x6C

#define MPU6050_REG_WHO_AM_I 0x75

#define G_CONSTANT 9.80665F
#define M_PI 3.14159265358979F

enum DLPF_CFG
{
    BW_256HZ,
    BW_188HZ,
    BW_98HZ,
    BW_42HZ,
    BW_20HZ,
    BW_10HZ,
    BW_5HZ,
};

/**
 * @brief Initializes the MPU6050 sensor.
 *
 * This function configures the MPU6050 by:
 * - Waking up the device from sleep mode.
 * - Setting the accelerometer and gyroscope to default sensitivity (±2g, ±250°/s).
 * - Configuring the digital low-pass filter (DLPF) bandwidth to 42Hz.
 * - Introducing short delays to ensure proper register configuration.
 *
 * @param dev_i2c Pointer to the I2C device specification.
 *
 * @note The default settings provide basic sensor functionality.
 *       Additional configuration may be required for specific applications.
 */
void mpu6050_init(const struct i2c_dt_spec *dev_i2c);

/**
 * @brief Reads 12 bytes of sensor data from the MPU6050.
 *
 * This function reads 10 bytes of data starting from the register
 * `MPU6050_REG_ACCEL_YOUT_H` in a burst operation. The data includes:
 * - 6 bytes of accelerometer data (X, Y, Z axes)
 * - 2 bytes of temperature data
 * - 4 bytes of gyroscope data (X, Y, Z axes)
 *
 * @param dev_i2c  Pointer to the I2C device specification.
 * @param buffer   Pointer to a buffer where the retrieved data will be stored.
 *
 * @note The data is stored in the provided buffer in the following order:
 * 1. acc-X HB
 * 2. acc-X LB
 * 3. acc-Y HB
 * 4. acc-Y LB
 * 5. acc-Z HB
 * 6. acc-Z LB
 * 7. Temp HB
 * 8. Temp LB
 * 9. gyro-X HB
 * 10.gyro-X LB
 * 11.gyro-Y HB
 * 12.gyro-Y LB
 */
void mpu6050_get_readings(const struct i2c_dt_spec *dev_i2c, uint8_t *buffer);

float accel_angle(float z_acc, float x_acc);
float gyro_angle(float angle_speed, float time_ms);

/**
 * @brief Converts raw gyroscope data to degrees per second (°/s).
 *
 * This function converts a raw 16-bit gyroscope reading from the MPU6500
 * into a float representing the angular velocity in degrees per second (°/s).
 * The conversion factor is based on a full-scale range of ±250°/s
 * (sensitivity: 131.072 LSB/°/s).
 *
 * @param raw_val  Raw gyroscope value (16-bit signed integer).
 * @return Converted angular velocity in degrees per second.
 */
float convert_gyro(int16_t raw_val);

/**
 * @brief Converts raw accelerometer data to acceleration in m/s².
 *
 * This function converts a raw 16-bit accelerometer reading from the MPU6500
 * into a float representing acceleration in meters per second squared (m/s²).
 * The conversion factor is based on a full-scale range of ±2g
 * (sensitivity: 16,384 LSB/g). The result is multiplied by `G_CONSTANT`
 * to express acceleration in standard gravity units.
 *
 * @param raw_val  Raw accelerometer value (16-bit signed integer).
 * @return Converted acceleration in meters per second squared (m/s²).
 */
float convert_accel(int16_t raw_val);

#endif // MPU6050_H
```

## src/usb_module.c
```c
#include "usb_module.h"

void usb_status_cb(enum usb_dc_status_code status, const uint8_t *param)
{
    switch (status)
    {
    case USB_DC_CONNECTED:
        LOG_INF("USB Connected");
        // Perform actions when USB is plugged in
        break;

    case USB_DC_DISCONNECTED:
        LOG_INF("USB Disconnected");
        // Perform actions when USB is unplugged
        break;

    default:
        break;
    }
}
```

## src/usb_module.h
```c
#ifndef USB_MODULE_H
#define USB_MODULE_H

#include <zephyr/sys/printk.h>
#include <zephyr/usb/usb_device.h>
#include <zephyr/drivers/uart.h>
#include <zephyr/logging/log.h>

/*
prj.conf:
REQUIRED:
CONFIG_USB_DEVICE_STACK=y
OPTIONAL:
CONFIG_USB_DEVICE_PRODUCT="SBR with NiceNano v.2"
*/

LOG_MODULE_REGISTER(usb_detect, LOG_LEVEL_INF);

BUILD_ASSERT(DT_NODE_HAS_COMPAT(DT_CHOSEN(zephyr_console), zephyr_cdc_acm_uart),
			 "Console device is not ACM CDC UART device");

void usb_status_cb(enum usb_dc_status_code status, const uint8_t *param);

#endif // USB_MODULE_H
```
